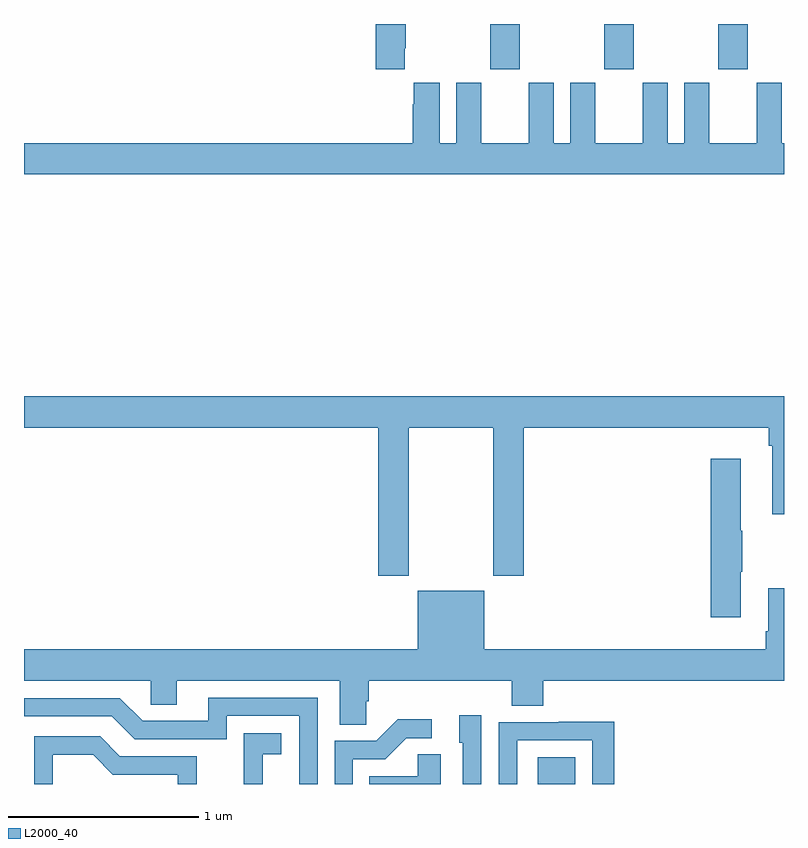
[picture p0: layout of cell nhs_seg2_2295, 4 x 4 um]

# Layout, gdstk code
import gdstk
lib = gdstk.Library(unit=1e-6, precision=1e-09)
def R(c, l, rs):  # rectangles x0, y0, x1, y1
    for r in rs: c.add(gdstk.rectangle(r[:2], r[2:], *l))
def A(c, l, x, y, w, h, nx, ny, dx, dy):  # array of equal rectangles
    R(c, l, [(x+i*dx, y+j*dy, x+i*dx+w, y+j*dy+h) for i in range(nx) for j in range(ny)])
def P(c, l, *ps):  # polygons
    for p in ps: c.add(gdstk.Polygon(p, *l))
L2000_40 = (2000, 40)

nhs_seg2_2295 = lib.new_cell('nhs_seg2_2295')
A(nhs_seg2_2295, L2000_40, 233.455, 609.561, 0.155, 0.239, 3, 1, 0.6, 0)
R(nhs_seg2_2295, L2000_40, [(233.705,605.8,233.902,605.941)])
P(nhs_seg2_2295, L2000_40, [(233.005,609.673),(233.01,609.673),(233.01,609.8),(232.85,609.8),(232.85,609.561),(233.005,609.561)],
  [(235,609.172),(234.988,609.172),(234.988,609.49),(234.857,609.49),(234.857,609.172),(234.607,609.172),(234.607,609.49),(234.476,609.49),(234.476,609.172),(234.388,609.172),(234.388,609.49),(234.257,609.49),(234.257,609.172),(234.007,609.172),(234.007,609.49),(233.876,609.49),(233.876,609.172),(233.788,609.172),(233.788,609.49),(233.657,609.49),(233.657,609.172),(233.407,609.172),(233.407,609.49),(233.276,609.49),(233.276,609.172),(233.188,609.172),(233.188,609.49),(233.051,609.49),(233.051,609.377),(233.045,609.377),(233.045,609.172),(231,609.172),(231,609.008),(235,609.008)],
  [(233.025,607.676),(233.47,607.676),(233.47,606.897),(233.63,606.897),(233.63,607.676),(234.919,607.676),(234.919,607.58),(234.938,607.58),(234.938,607.221),(235,607.221),(235,607.84),(231,607.84),(231,607.676),(232.865,607.676),(232.865,606.897),(233.025,606.897)],
  [(234.772,606.916),(234.78,606.916),(234.78,607.133),(234.772,607.133),(234.772,607.513),(234.614,607.513),(234.614,606.678),(234.772,606.678)],
  [(232.8,606.235),(232.814,606.235),(232.814,606.344),(233.567,606.344),(233.567,606.211),(233.732,606.211),(233.732,606.344),(235,606.344),(235,606.829),(234.917,606.829),(234.917,606.604),(234.905,606.604),(234.905,606.508),(233.422,606.508),(233.422,606.817),(233.072,606.817),(233.072,606.508),(231,606.508),(231,606.344),(231.666,606.344),(231.666,606.217),(231.805,606.217),(231.805,606.344),(232.661,606.344),(232.661,606.112),(232.8,606.112)],
  [(232.545,606.255),(231.971,606.255),(231.971,606.132),(231.624,606.132),(231.504,606.252),(231,606.252),(231,606.156),(231.462,606.156),(231.582,606.036),(232.068,606.036),(232.068,606.159),(232.449,606.159),(232.449,605.8),(232.545,605.8)],
  [(233.406,606.163),(233.291,606.163),(233.291,606.018),(233.31,606.018),(233.31,605.8),(233.406,605.8)],
  [(232.731,605.931),(232.9,605.931),(233.011,606.042),(233.146,606.042),(233.146,606.14),(232.967,606.14),(232.854,606.027),(232.635,606.027),(232.635,605.8),(232.731,605.8)],
  [(233.595,606.03),(233.991,606.03),(233.991,605.8),(234.107,605.8),(234.107,606.128),(233.815,606.128),(233.815,606.126),(233.499,606.126),(233.499,605.8),(233.595,605.8)],
  [(232.256,605.957),(232.354,605.957),(232.354,606.067),(232.156,606.067),(232.156,605.861),(232.157,605.861),(232.157,605.8),(232.256,605.8)],
  [(231.15,605.954),(231.364,605.954),(231.468,605.85),(231.81,605.85),(231.81,605.8),(231.909,605.8),(231.909,605.946),(231.505,605.946),(231.4,606.051),(231.054,606.051),(231.054,605.8),(231.15,605.8)],
  [(233.194,605.957),(233.073,605.957),(233.073,605.842),(232.816,605.842),(232.816,605.8),(233.194,605.8)])

lib.write_gds('nhs_seg2_2295.gds')
